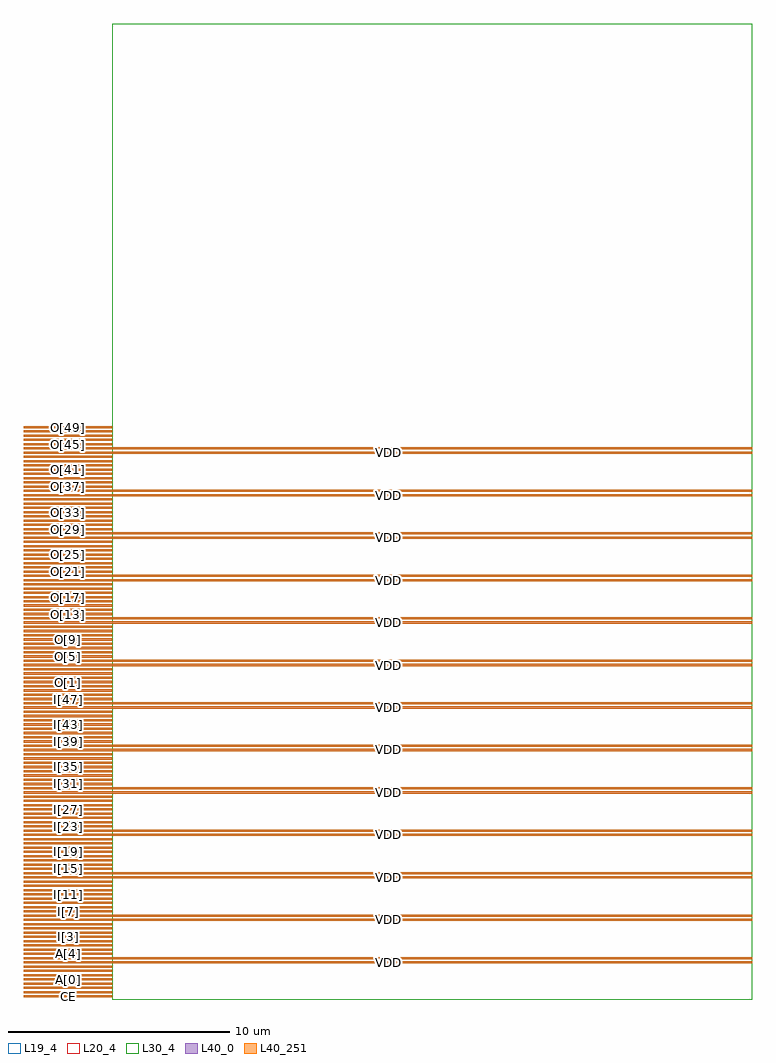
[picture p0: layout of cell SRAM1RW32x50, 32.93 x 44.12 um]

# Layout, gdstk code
import gdstk
lib = gdstk.Library(unit=1e-6, precision=1e-09)
def R(c, l, rs):  # rectangles x0, y0, x1, y1
    for r in rs: c.add(gdstk.rectangle(r[:2], r[2:], *l))
def A(c, l, x, y, w, h, nx, ny, dx, dy):  # array of equal rectangles
    R(c, l, [(x+i*dx, y+j*dy, x+i*dx+w, y+j*dy+h) for i in range(nx) for j in range(ny)])
L19_4 = (19, 4)
L20_4 = (20, 4)
L30_4 = (30, 4)
L40_0 = (40, 0)
L40_251 = (40, 251)

sram1rw32x50 = lib.new_cell('SRAM1RW32x50')
R(sram1rw32x50, L19_4, [(4,0,32.928,44.12)])
R(sram1rw32x50, L20_4, [(4,0,32.928,44.12)])
R(sram1rw32x50, L30_4, [(4,0,32.928,44.12)])
A(sram1rw32x50, L40_0, 0, 0.096, 4, 0.096, 1, 8, 0, 0.192)
A(sram1rw32x50, L40_0, 0, 2.016, 4, 0.096, 1, 8, 0, 0.192)
A(sram1rw32x50, L40_0, 0, 3.936, 4, 0.096, 1, 8, 0, 0.192)
A(sram1rw32x50, L40_0, 0, 5.856, 4, 0.096, 1, 8, 0, 0.192)
A(sram1rw32x50, L40_0, 0, 7.776, 4, 0.096, 1, 8, 0, 0.192)
A(sram1rw32x50, L40_0, 0, 9.696, 4, 0.096, 1, 8, 0, 0.192)
A(sram1rw32x50, L40_0, 0, 11.616, 4, 0.096, 1, 8, 0, 0.192)
A(sram1rw32x50, L40_0, 0, 13.536, 4, 0.096, 1, 8, 0, 0.192)
A(sram1rw32x50, L40_0, 0, 15.456, 4, 0.096, 1, 8, 0, 0.192)
A(sram1rw32x50, L40_0, 0, 17.376, 4, 0.096, 1, 8, 0, 0.192)
A(sram1rw32x50, L40_0, 0, 19.296, 4, 0.096, 1, 8, 0, 0.192)
A(sram1rw32x50, L40_0, 0, 21.216, 4, 0.096, 1, 8, 0, 0.192)
A(sram1rw32x50, L40_0, 0, 23.136, 4, 0.096, 1, 8, 0, 0.192)
A(sram1rw32x50, L40_0, 0, 25.056, 4, 0.096, 1, 5, 0, 0.192)
R(sram1rw32x50, L40_0, [(0,1.632,32.928,1.728), (0,1.824,32.928,1.92), (0,3.552,32.928,3.648), (0,3.744,32.928,3.84), (0,5.472,32.928,5.568), (0,5.664,32.928,5.76), (0,7.392,32.928,7.488), (0,7.584,32.928,7.68), (0,9.312,32.928,9.408), (0,9.504,32.928,9.6), (0,11.232,32.928,11.328), (0,11.424,32.928,11.52), (0,13.152,32.928,13.248), (0,13.344,32.928,13.44), (0,15.072,32.928,15.168), (0,15.264,32.928,15.36), (0,16.992,32.928,17.088), (0,17.184,32.928,17.28), (0,18.912,32.928,19.008), (0,19.104,32.928,19.2), (0,20.832,32.928,20.928), (0,21.024,32.928,21.12), (0,22.752,32.928,22.848), (0,22.944,32.928,23.04), (0,24.672,32.928,24.768), (0,24.864,32.928,24.96)])
A(sram1rw32x50, L40_251, 0, 0.096, 4, 0.096, 1, 8, 0, 0.192)
A(sram1rw32x50, L40_251, 0, 2.016, 4, 0.096, 1, 8, 0, 0.192)
A(sram1rw32x50, L40_251, 0, 3.936, 4, 0.096, 1, 8, 0, 0.192)
A(sram1rw32x50, L40_251, 0, 5.856, 4, 0.096, 1, 8, 0, 0.192)
A(sram1rw32x50, L40_251, 0, 7.776, 4, 0.096, 1, 8, 0, 0.192)
A(sram1rw32x50, L40_251, 0, 9.696, 4, 0.096, 1, 8, 0, 0.192)
A(sram1rw32x50, L40_251, 0, 11.616, 4, 0.096, 1, 8, 0, 0.192)
A(sram1rw32x50, L40_251, 0, 13.536, 4, 0.096, 1, 8, 0, 0.192)
A(sram1rw32x50, L40_251, 0, 15.456, 4, 0.096, 1, 8, 0, 0.192)
A(sram1rw32x50, L40_251, 0, 17.376, 4, 0.096, 1, 8, 0, 0.192)
A(sram1rw32x50, L40_251, 0, 19.296, 4, 0.096, 1, 8, 0, 0.192)
A(sram1rw32x50, L40_251, 0, 21.216, 4, 0.096, 1, 8, 0, 0.192)
A(sram1rw32x50, L40_251, 0, 23.136, 4, 0.096, 1, 8, 0, 0.192)
A(sram1rw32x50, L40_251, 0, 25.056, 4, 0.096, 1, 5, 0, 0.192)
R(sram1rw32x50, L40_251, [(0,1.632,32.928,1.728), (0,1.824,32.928,1.92), (0,3.552,32.928,3.648), (0,3.744,32.928,3.84), (0,5.472,32.928,5.568), (0,5.664,32.928,5.76), (0,7.392,32.928,7.488), (0,7.584,32.928,7.68), (0,9.312,32.928,9.408), (0,9.504,32.928,9.6), (0,11.232,32.928,11.328), (0,11.424,32.928,11.52), (0,13.152,32.928,13.248), (0,13.344,32.928,13.44), (0,15.072,32.928,15.168), (0,15.264,32.928,15.36), (0,16.992,32.928,17.088), (0,17.184,32.928,17.28), (0,18.912,32.928,19.008), (0,19.104,32.928,19.2), (0,20.832,32.928,20.928), (0,21.024,32.928,21.12), (0,22.752,32.928,22.848), (0,22.944,32.928,23.04), (0,24.672,32.928,24.768), (0,24.864,32.928,24.96)])
sram1rw32x50.add(gdstk.Label('CE', (2,0.144), layer=40, texttype=0))
sram1rw32x50.add(gdstk.Label('WEB', (2,0.336), layer=40, texttype=0))
sram1rw32x50.add(gdstk.Label('OEB', (2,0.528), layer=40, texttype=0))
sram1rw32x50.add(gdstk.Label('CSB', (2,0.72), layer=40, texttype=0))
sram1rw32x50.add(gdstk.Label('A[0]', (2,0.912), layer=40, texttype=0))
sram1rw32x50.add(gdstk.Label('A[1]', (2,1.104), layer=40, texttype=0))
sram1rw32x50.add(gdstk.Label('A[2]', (2,1.296), layer=40, texttype=0))
sram1rw32x50.add(gdstk.Label('A[3]', (2,1.488), layer=40, texttype=0))
sram1rw32x50.add(gdstk.Label('A[4]', (2,2.064), layer=40, texttype=0))
sram1rw32x50.add(gdstk.Label('I[0]', (2,2.256), layer=40, texttype=0))
sram1rw32x50.add(gdstk.Label('I[1]', (2,2.448), layer=40, texttype=0))
sram1rw32x50.add(gdstk.Label('I[2]', (2,2.64), layer=40, texttype=0))
sram1rw32x50.add(gdstk.Label('I[3]', (2,2.832), layer=40, texttype=0))
sram1rw32x50.add(gdstk.Label('I[4]', (2,3.024), layer=40, texttype=0))
sram1rw32x50.add(gdstk.Label('I[5]', (2,3.216), layer=40, texttype=0))
sram1rw32x50.add(gdstk.Label('I[6]', (2,3.408), layer=40, texttype=0))
sram1rw32x50.add(gdstk.Label('I[7]', (2,3.984), layer=40, texttype=0))
sram1rw32x50.add(gdstk.Label('I[8]', (2,4.176), layer=40, texttype=0))
sram1rw32x50.add(gdstk.Label('I[9]', (2,4.368), layer=40, texttype=0))
sram1rw32x50.add(gdstk.Label('I[10]', (2,4.56), layer=40, texttype=0))
sram1rw32x50.add(gdstk.Label('I[11]', (2,4.752), layer=40, texttype=0))
sram1rw32x50.add(gdstk.Label('I[12]', (2,4.944), layer=40, texttype=0))
sram1rw32x50.add(gdstk.Label('I[13]', (2,5.136), layer=40, texttype=0))
sram1rw32x50.add(gdstk.Label('I[14]', (2,5.328), layer=40, texttype=0))
sram1rw32x50.add(gdstk.Label('I[15]', (2,5.904), layer=40, texttype=0))
sram1rw32x50.add(gdstk.Label('I[16]', (2,6.096), layer=40, texttype=0))
sram1rw32x50.add(gdstk.Label('I[17]', (2,6.288), layer=40, texttype=0))
sram1rw32x50.add(gdstk.Label('I[18]', (2,6.48), layer=40, texttype=0))
sram1rw32x50.add(gdstk.Label('I[19]', (2,6.672), layer=40, texttype=0))
sram1rw32x50.add(gdstk.Label('I[20]', (2,6.864), layer=40, texttype=0))
sram1rw32x50.add(gdstk.Label('I[21]', (2,7.056), layer=40, texttype=0))
sram1rw32x50.add(gdstk.Label('I[22]', (2,7.248), layer=40, texttype=0))
sram1rw32x50.add(gdstk.Label('I[23]', (2,7.824), layer=40, texttype=0))
sram1rw32x50.add(gdstk.Label('I[24]', (2,8.016), layer=40, texttype=0))
sram1rw32x50.add(gdstk.Label('I[25]', (2,8.208), layer=40, texttype=0))
sram1rw32x50.add(gdstk.Label('I[26]', (2,8.4), layer=40, texttype=0))
sram1rw32x50.add(gdstk.Label('I[27]', (2,8.592), layer=40, texttype=0))
sram1rw32x50.add(gdstk.Label('I[28]', (2,8.784), layer=40, texttype=0))
sram1rw32x50.add(gdstk.Label('I[29]', (2,8.976), layer=40, texttype=0))
sram1rw32x50.add(gdstk.Label('I[30]', (2,9.168), layer=40, texttype=0))
sram1rw32x50.add(gdstk.Label('I[31]', (2,9.744), layer=40, texttype=0))
sram1rw32x50.add(gdstk.Label('I[32]', (2,9.936), layer=40, texttype=0))
sram1rw32x50.add(gdstk.Label('I[33]', (2,10.128), layer=40, texttype=0))
sram1rw32x50.add(gdstk.Label('I[34]', (2,10.32), layer=40, texttype=0))
sram1rw32x50.add(gdstk.Label('I[35]', (2,10.512), layer=40, texttype=0))
sram1rw32x50.add(gdstk.Label('I[36]', (2,10.704), layer=40, texttype=0))
sram1rw32x50.add(gdstk.Label('I[37]', (2,10.896), layer=40, texttype=0))
sram1rw32x50.add(gdstk.Label('I[38]', (2,11.088), layer=40, texttype=0))
sram1rw32x50.add(gdstk.Label('I[39]', (2,11.664), layer=40, texttype=0))
sram1rw32x50.add(gdstk.Label('I[40]', (2,11.856), layer=40, texttype=0))
sram1rw32x50.add(gdstk.Label('I[41]', (2,12.048), layer=40, texttype=0))
sram1rw32x50.add(gdstk.Label('I[42]', (2,12.24), layer=40, texttype=0))
sram1rw32x50.add(gdstk.Label('I[43]', (2,12.432), layer=40, texttype=0))
sram1rw32x50.add(gdstk.Label('I[44]', (2,12.624), layer=40, texttype=0))
sram1rw32x50.add(gdstk.Label('I[45]', (2,12.816), layer=40, texttype=0))
sram1rw32x50.add(gdstk.Label('I[46]', (2,13.008), layer=40, texttype=0))
sram1rw32x50.add(gdstk.Label('I[47]', (2,13.584), layer=40, texttype=0))
sram1rw32x50.add(gdstk.Label('I[48]', (2,13.776), layer=40, texttype=0))
sram1rw32x50.add(gdstk.Label('I[49]', (2,13.968), layer=40, texttype=0))
sram1rw32x50.add(gdstk.Label('O[0]', (2,14.16), layer=40, texttype=0))
sram1rw32x50.add(gdstk.Label('O[1]', (2,14.352), layer=40, texttype=0))
sram1rw32x50.add(gdstk.Label('O[2]', (2,14.544), layer=40, texttype=0))
sram1rw32x50.add(gdstk.Label('O[3]', (2,14.736), layer=40, texttype=0))
sram1rw32x50.add(gdstk.Label('O[4]', (2,14.928), layer=40, texttype=0))
sram1rw32x50.add(gdstk.Label('O[5]', (2,15.504), layer=40, texttype=0))
sram1rw32x50.add(gdstk.Label('O[6]', (2,15.696), layer=40, texttype=0))
sram1rw32x50.add(gdstk.Label('O[7]', (2,15.888), layer=40, texttype=0))
sram1rw32x50.add(gdstk.Label('O[8]', (2,16.08), layer=40, texttype=0))
sram1rw32x50.add(gdstk.Label('O[9]', (2,16.272), layer=40, texttype=0))
sram1rw32x50.add(gdstk.Label('O[10]', (2,16.464), layer=40, texttype=0))
sram1rw32x50.add(gdstk.Label('O[11]', (2,16.656), layer=40, texttype=0))
sram1rw32x50.add(gdstk.Label('O[12]', (2,16.848), layer=40, texttype=0))
sram1rw32x50.add(gdstk.Label('O[13]', (2,17.424), layer=40, texttype=0))
sram1rw32x50.add(gdstk.Label('O[14]', (2,17.616), layer=40, texttype=0))
sram1rw32x50.add(gdstk.Label('O[15]', (2,17.808), layer=40, texttype=0))
sram1rw32x50.add(gdstk.Label('O[16]', (2,18), layer=40, texttype=0))
sram1rw32x50.add(gdstk.Label('O[17]', (2,18.192), layer=40, texttype=0))
sram1rw32x50.add(gdstk.Label('O[18]', (2,18.384), layer=40, texttype=0))
sram1rw32x50.add(gdstk.Label('O[19]', (2,18.576), layer=40, texttype=0))
sram1rw32x50.add(gdstk.Label('O[20]', (2,18.768), layer=40, texttype=0))
sram1rw32x50.add(gdstk.Label('O[21]', (2,19.344), layer=40, texttype=0))
sram1rw32x50.add(gdstk.Label('O[22]', (2,19.536), layer=40, texttype=0))
sram1rw32x50.add(gdstk.Label('O[23]', (2,19.728), layer=40, texttype=0))
sram1rw32x50.add(gdstk.Label('O[24]', (2,19.92), layer=40, texttype=0))
sram1rw32x50.add(gdstk.Label('O[25]', (2,20.112), layer=40, texttype=0))
sram1rw32x50.add(gdstk.Label('O[26]', (2,20.304), layer=40, texttype=0))
sram1rw32x50.add(gdstk.Label('O[27]', (2,20.496), layer=40, texttype=0))
sram1rw32x50.add(gdstk.Label('O[28]', (2,20.688), layer=40, texttype=0))
sram1rw32x50.add(gdstk.Label('O[29]', (2,21.264), layer=40, texttype=0))
sram1rw32x50.add(gdstk.Label('O[30]', (2,21.456), layer=40, texttype=0))
sram1rw32x50.add(gdstk.Label('O[31]', (2,21.648), layer=40, texttype=0))
sram1rw32x50.add(gdstk.Label('O[32]', (2,21.84), layer=40, texttype=0))
sram1rw32x50.add(gdstk.Label('O[33]', (2,22.032), layer=40, texttype=0))
sram1rw32x50.add(gdstk.Label('O[34]', (2,22.224), layer=40, texttype=0))
sram1rw32x50.add(gdstk.Label('O[35]', (2,22.416), layer=40, texttype=0))
sram1rw32x50.add(gdstk.Label('O[36]', (2,22.608), layer=40, texttype=0))
sram1rw32x50.add(gdstk.Label('O[37]', (2,23.184), layer=40, texttype=0))
sram1rw32x50.add(gdstk.Label('O[38]', (2,23.376), layer=40, texttype=0))
sram1rw32x50.add(gdstk.Label('O[39]', (2,23.568), layer=40, texttype=0))
sram1rw32x50.add(gdstk.Label('O[40]', (2,23.76), layer=40, texttype=0))
sram1rw32x50.add(gdstk.Label('O[41]', (2,23.952), layer=40, texttype=0))
sram1rw32x50.add(gdstk.Label('O[42]', (2,24.144), layer=40, texttype=0))
sram1rw32x50.add(gdstk.Label('O[43]', (2,24.336), layer=40, texttype=0))
sram1rw32x50.add(gdstk.Label('O[44]', (2,24.528), layer=40, texttype=0))
sram1rw32x50.add(gdstk.Label('O[45]', (2,25.104), layer=40, texttype=0))
sram1rw32x50.add(gdstk.Label('O[46]', (2,25.296), layer=40, texttype=0))
sram1rw32x50.add(gdstk.Label('O[47]', (2,25.488), layer=40, texttype=0))
sram1rw32x50.add(gdstk.Label('O[48]', (2,25.68), layer=40, texttype=0))
sram1rw32x50.add(gdstk.Label('O[49]', (2,25.872), layer=40, texttype=0))
sram1rw32x50.add(gdstk.Label('VDD', (16.464,1.68), layer=40, texttype=0))
sram1rw32x50.add(gdstk.Label('VDD', (16.464,3.6), layer=40, texttype=0))
sram1rw32x50.add(gdstk.Label('VDD', (16.464,5.52), layer=40, texttype=0))
sram1rw32x50.add(gdstk.Label('VDD', (16.464,7.44), layer=40, texttype=0))
sram1rw32x50.add(gdstk.Label('VDD', (16.464,9.36), layer=40, texttype=0))
sram1rw32x50.add(gdstk.Label('VDD', (16.464,11.28), layer=40, texttype=0))
sram1rw32x50.add(gdstk.Label('VDD', (16.464,13.2), layer=40, texttype=0))
sram1rw32x50.add(gdstk.Label('VDD', (16.464,15.12), layer=40, texttype=0))
sram1rw32x50.add(gdstk.Label('VDD', (16.464,17.04), layer=40, texttype=0))
sram1rw32x50.add(gdstk.Label('VDD', (16.464,18.96), layer=40, texttype=0))
sram1rw32x50.add(gdstk.Label('VDD', (16.464,20.88), layer=40, texttype=0))
sram1rw32x50.add(gdstk.Label('VDD', (16.464,22.8), layer=40, texttype=0))
sram1rw32x50.add(gdstk.Label('VDD', (16.464,24.72), layer=40, texttype=0))
sram1rw32x50.add(gdstk.Label('VSS', (16.464,1.872), layer=40, texttype=0))
sram1rw32x50.add(gdstk.Label('VSS', (16.464,3.792), layer=40, texttype=0))
sram1rw32x50.add(gdstk.Label('VSS', (16.464,5.712), layer=40, texttype=0))
sram1rw32x50.add(gdstk.Label('VSS', (16.464,7.632), layer=40, texttype=0))
sram1rw32x50.add(gdstk.Label('VSS', (16.464,9.552), layer=40, texttype=0))
sram1rw32x50.add(gdstk.Label('VSS', (16.464,11.472), layer=40, texttype=0))
sram1rw32x50.add(gdstk.Label('VSS', (16.464,13.392), layer=40, texttype=0))
sram1rw32x50.add(gdstk.Label('VSS', (16.464,15.312), layer=40, texttype=0))
sram1rw32x50.add(gdstk.Label('VSS', (16.464,17.232), layer=40, texttype=0))
sram1rw32x50.add(gdstk.Label('VSS', (16.464,19.152), layer=40, texttype=0))
sram1rw32x50.add(gdstk.Label('VSS', (16.464,21.072), layer=40, texttype=0))
sram1rw32x50.add(gdstk.Label('VSS', (16.464,22.992), layer=40, texttype=0))
sram1rw32x50.add(gdstk.Label('VSS', (16.464,24.912), layer=40, texttype=0))

lib.write_gds('SRAM1RW32x50.gds')
